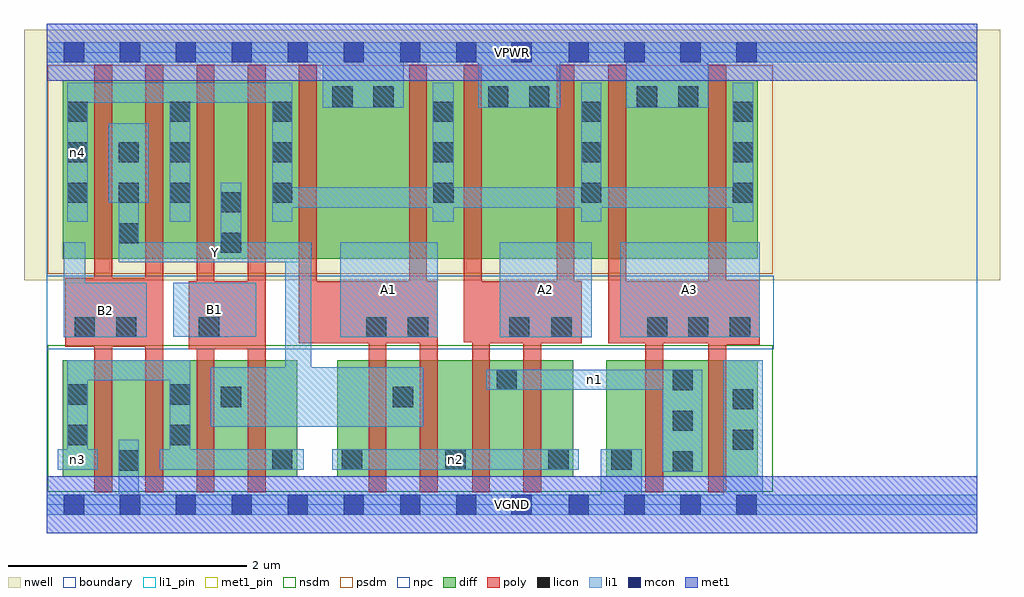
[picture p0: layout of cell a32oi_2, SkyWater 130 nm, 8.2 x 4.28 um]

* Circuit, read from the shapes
.subckt a32oi_2 A1 A2 A3 B1 B2 VGND VPWR Y n1 n2 n3 n4
XM1 VGND B2 n3 VSUBS sky130_fd_pr__nfet_01v8 w=0.98 l=0.15 m=2
XM2 Y B1 n3 VSUBS sky130_fd_pr__nfet_01v8 w=0.98 l=0.15 m=2
XM3 Y A1 n2 VSUBS sky130_fd_pr__nfet_01v8 w=0.98 l=0.15 m=2
XM4 n1 A2 n2 VSUBS sky130_fd_pr__nfet_01v8 w=0.98 l=0.15 m=2
XM5 n1 A3 VGND VSUBS sky130_fd_pr__nfet_01v8 w=0.98 l=0.15 m=2
XM6 Y B2 n4 n5 sky130_fd_pr__pfet_01v8 w=1.5 l=0.15 m=2
XM7 Y B1 n4 n5 sky130_fd_pr__pfet_01v8 w=1.5 l=0.15 m=2
XM8 VPWR A1 n4 n5 sky130_fd_pr__pfet_01v8 w=1.5 l=0.15 m=2
XM9 VPWR A2 n4 n5 sky130_fd_pr__pfet_01v8 w=1.5 l=0.15 m=2
XM10 VPWR A3 n4 n5 sky130_fd_pr__pfet_01v8 w=1.5 l=0.15 m=2
.ends

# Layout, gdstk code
import gdstk
lib = gdstk.Library(unit=1e-6, precision=1e-09)
def R(c, l, rs):  # rectangles x0, y0, x1, y1
    for r in rs: c.add(gdstk.rectangle(r[:2], r[2:], *l))
def A(c, l, x, y, w, h, nx, ny, dx, dy):  # array of equal rectangles
    R(c, l, [(x+i*dx, y+j*dy, x+i*dx+w, y+j*dy+h) for i in range(nx) for j in range(ny)])
nwell = (64, 20)
diff = (65, 20)
poly = (66, 20)
licon = (66, 44)
li1_pin = (67, 16)
li1 = (67, 20)
mcon = (67, 44)
met1_pin = (68, 16)
met1 = (68, 20)
nsdm = (93, 44)
psdm = (94, 20)
npc = (95, 20)
boundary = (235, 4)

a32oi_2 = lib.new_cell('a32oi_2')
R(a32oi_2, nwell, [(-0.19,1.885,8.01,3.99), (0,1.885,7.82,3.99)])
R(a32oi_2, diff, [(0.135,0.235,2.105,1.215), (2.44,0.235,4.425,1.215), (4.7,0.235,5.975,1.215), (0.135,2.065,5.975,3.565)])
A(a32oi_2, poly, 0.4, 0.105, 0.15, 3.59, 4, 1, 0.43, 0)
R(a32oi_2, poly, [(2.705,0.105,2.855,1.875), (3.135,0.105,3.285,1.875), (3.575,0.105,3.725,1.875), (4.005,0.105,4.155,1.875), (5.03,0.105,5.18,1.875), (5.56,0.105,5.71,3.695), (1.195,1.305,1.84,1.875), (0.155,1.325,0.98,1.905), (5.56,1.345,5.99,1.885), (2.12,1.355,3.285,1.875), (2.12,1.355,2.27,3.695), (3.045,1.355,3.195,3.695), (3.575,1.355,4.495,1.875), (4.285,1.355,4.435,3.695), (4.72,1.355,4.87,3.695), (4.72,1.355,5.99,1.875), (3.505,1.365,3.655,3.695)])
A(a32oi_2, licon, 5.26, 0.28, 0.17, 0.17, 1, 3, 0, 0.34)
A(a32oi_2, licon, 0.175, 2.535, 0.17, 0.17, 3, 2, 0.43, 0.34)
A(a32oi_2, licon, 3.25, 2.535, 0.17, 0.17, 1, 3, 0, 0.34)
A(a32oi_2, licon, 4.49, 2.535, 0.17, 0.17, 1, 3, 0, 0.34)
A(a32oi_2, licon, 5.765, 2.535, 0.17, 0.17, 1, 3, 0, 0.34)
A(a32oi_2, licon, 0.175, 3.215, 0.17, 0.17, 3, 1, 0.86, 0)
R(a32oi_2, licon, [(0.605,0.285,0.775,0.455), (1.895,0.295,2.065,0.465), (2.48,0.295,2.65,0.465), (3.35,0.295,3.52,0.465), (4.215,0.295,4.385,0.465), (4.745,0.295,4.915,0.465), (5.765,0.46,5.935,0.63), (0.175,0.5,0.345,0.67), (1.035,0.5,1.205,0.67), (5.765,0.8,5.935,0.97), (1.465,0.82,1.635,0.99), (2.91,0.82,3.08,0.99), (0.175,0.84,0.345,1.01), (1.035,0.84,1.205,1.01), (3.78,0.965,3.95,1.135), (0.235,1.405,0.405,1.575), (0.585,1.405,0.755,1.575), (1.28,1.405,1.45,1.575), (2.685,1.405,2.855,1.575), (3.035,1.405,3.205,1.575), (3.885,1.405,4.055,1.575), (4.24,1.405,4.41,1.575), (5.045,1.405,5.215,1.575), (5.39,1.405,5.56,1.575), (5.74,1.405,5.91,1.575), (1.465,2.115,1.635,2.285), (0.605,2.195,0.775,2.365), (1.465,2.455,1.635,2.625), (1.895,2.535,2.065,2.705), (1.895,2.875,2.065,3.045), (2.4,3.345,2.57,3.515), (2.745,3.345,2.915,3.515), (3.71,3.345,3.88,3.515), (4.055,3.345,4.225,3.515), (4.96,3.345,5.13,3.515), (5.305,3.345,5.475,3.515)])
R(a32oi_2, li1_pin, [(0.145,1.405,0.84,1.865), (2.465,1.405,3.285,2.205), (3.805,1.405,4.58,2.205), (4.82,1.405,5.99,2.205), (1.065,1.41,1.76,1.865), (0.605,2.035,2.225,2.205)])
A(a32oi_2, li1, 0.175, 2.375, 0.17, 1.17, 3, 1, 0.86, 0)
R(a32oi_2, li1, [(0,-0.085,7.82,0.085), (0.605,-0.085,0.775,0.545), (4.655,-0.085,5,0.465), (5.685,-0.085,6.015,1.215), (5.175,0.275,5.51,1.135), (0.095,0.295,0.43,0.465), (0.175,0.295,0.345,1.215), (0.95,0.295,2.16,0.465), (1.035,0.295,1.205,1.215), (2.4,0.295,4.47,0.465), (1.38,0.655,3.165,1.155), (2.005,0.655,2.225,2.205), (3.695,0.965,5.51,1.135), (0.175,1.045,1.205,1.215), (0.145,1.405,0.84,1.865), (0.145,1.405,0.325,2.205), (1.195,1.405,1.535,1.865), (2.465,1.405,3.285,2.205), (3.805,1.405,4.58,2.205), (4.82,1.405,5.99,2.205), (1.065,1.41,1.76,1.865), (0.605,2.035,2.225,2.205), (0.605,2.035,0.775,3.205), (1.465,2.035,1.635,2.705), (3.245,2.375,3.42,3.545), (4.49,2.375,4.66,3.545), (5.765,2.375,5.935,3.545), (1.895,2.495,5.935,2.665), (0.52,2.535,0.86,3.205), (2.32,3.335,3,3.885), (3.625,3.335,4.315,3.885), (4.87,3.335,5.56,3.885), (0.175,3.375,2.065,3.545), (0,3.715,7.82,3.885)])
A(a32oi_2, mcon, 0.145, -0.085, 0.17, 0.17, 6, 2, 0.47, 3.8)
A(a32oi_2, mcon, 4.385, -0.085, 0.17, 0.17, 4, 2, 0.47, 3.8)
R(a32oi_2, mcon, [(2.97,-0.085,3.14,0.085), (3.44,-0.085,3.61,0.085), (3.905,-0.085,4.075,0.085), (2.97,3.715,3.14,3.885), (3.44,3.715,3.61,3.885), (3.905,3.715,4.075,3.885)])
R(a32oi_2, met1_pin, [(0,-0.24,7.82,0.24), (0,3.56,7.82,4.04)])
R(a32oi_2, met1, [(0,-0.24,7.82,0.24), (0,3.56,7.82,4.04)])
R(a32oi_2, nsdm, [(0.01,0.11,6.1,1.34)])
R(a32oi_2, psdm, [(0.01,1.94,6.1,3.69)])
R(a32oi_2, npc, [(0,1.305,6.11,1.925)])
R(a32oi_2, boundary, [(0,0,7.82,3.8)])
a32oi_2.add(gdstk.Label('A1', (2.875,1.805), layer=67, texttype=5))
a32oi_2.add(gdstk.Label('A2', (4.192,1.805), layer=67, texttype=5))
a32oi_2.add(gdstk.Label('A3', (5.405,1.805), layer=67, texttype=5))
a32oi_2.add(gdstk.Label('B1', (1.412,1.637), layer=67, texttype=5))
a32oi_2.add(gdstk.Label('B2', (0.492,1.635), layer=67, texttype=5))
a32oi_2.add(gdstk.Label('Y', (1.415,2.12), layer=67, texttype=5))
a32oi_2.add(gdstk.Label('n2', (3.435,0.38), layer=67, texttype=5))
a32oi_2.add(gdstk.Label('n1', (4.602,1.05), layer=67, texttype=5))
a32oi_2.add(gdstk.Label('n3', (0.262,0.38), layer=67, texttype=5))
a32oi_2.add(gdstk.Label('n4', (0.26,2.96), layer=67, texttype=5))
a32oi_2.add(gdstk.Label('VPWR', (3.91,3.8), layer=68, texttype=5))
a32oi_2.add(gdstk.Label('VGND', (3.91,0), layer=68, texttype=5))
a32oi_2.add(gdstk.Label('A1', (2.875,1.805), layer=67, texttype=16))
a32oi_2.add(gdstk.Label('A2', (4.192,1.805), layer=67, texttype=16))
a32oi_2.add(gdstk.Label('A3', (5.405,1.805), layer=67, texttype=16))
a32oi_2.add(gdstk.Label('B1', (1.412,1.637), layer=67, texttype=16))
a32oi_2.add(gdstk.Label('B2', (0.492,1.635), layer=67, texttype=16))
a32oi_2.add(gdstk.Label('Y', (1.415,2.12), layer=67, texttype=16))
a32oi_2.add(gdstk.Label('VPWR', (3.91,3.8), layer=68, texttype=16))
a32oi_2.add(gdstk.Label('VGND', (3.91,0), layer=68, texttype=16))

lib.write_gds('a32oi_2.gds')
